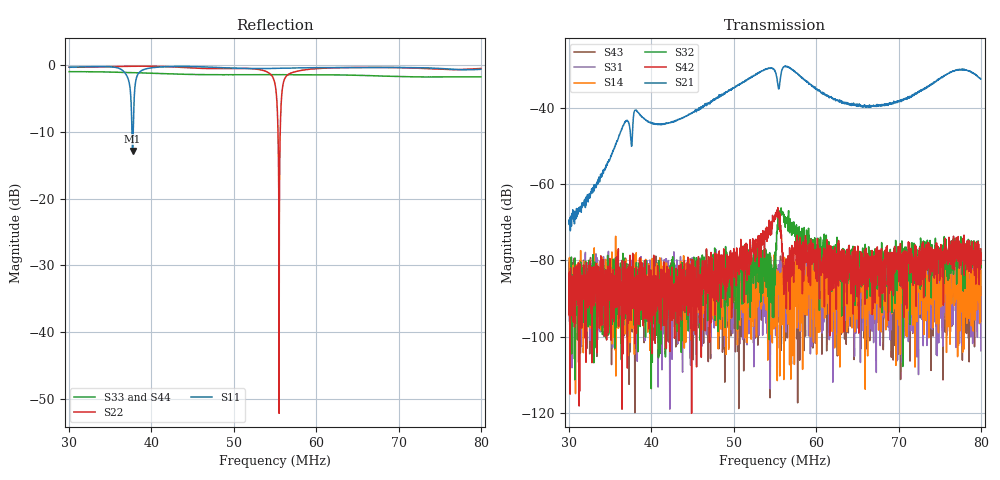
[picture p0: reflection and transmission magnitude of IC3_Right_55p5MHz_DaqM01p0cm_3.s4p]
#  HZ  S  DB  R  50.00
! Rohde & Schwarz Vector Network Analyzer
! Rohde-Schwarz,ZNB8-4Port,1311601044102961,2.82
! Created: UTC 2/13/2019, 11:53:38 AM
! freq[Hz]  db:S11  ang:S11  db:S12  ang:S12  db:S13  ang:S13  db:S14  ang:S14
!  db:S21  ang:S21  db:S22  ang:S22  db:S23  ang:S23  db:S24  ang:S24
!  db:S31  ang:S31  db:S32  ang:S32  db:S33  ang:S33  db:S34  ang:S34
!  db:S41  ang:S41  db:S42  ang:S42  db:S43  ang:S43  db:S44  ang:S44
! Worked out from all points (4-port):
!   2001 points, 30 MHz to 80 MHz, reference 50 ohm
!   strongest paths, dB at 30 MHz, 42.5 MHz, 55 MHz, 67.5 MHz, 80 MHz:
!     S21: -69.3, -43.6, -30.3, -39.3, -32.4
!     S42: -83.4, -81.8, -68.1, -78.4, -77.0
!     S32: -90.6, -79.8, -77.8, -80.4, -79.9
!     S14: -90.1, -84.3, -95.6, -86.2, -89.2
!     S31: -92.3, -106.0, -82.8, -85.4, -103.7
!     S43: -80.7, -91.4, -86.0, -95.3, -96.0
!   lowest |S11| = -12.9 dB at 37.7 MHz (marker M1), VSWR 1.59, Z = 77.4 - j9.66 ohm
!   |S11| at or under -10 dB: 37.63428 MHz to 37.77403 MHz (139.8 kHz wide, 0.371 % of centre)
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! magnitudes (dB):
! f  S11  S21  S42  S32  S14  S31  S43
! 30 MHz  -0.3  -69.3  -83.4  -90.6  -90.1  -92.3  -80.7
! 37.7 MHz  -12.9  -46.2  -87.5  -89.9  -85.9  -93.9  -84.4
! 54.17 MHz  -0.5  -29.6  -72.7  -89.6  -91.7  -92.1  -92.1
! 55.5 MHz  -0.4  -34.9  -69.3  -67.4  -84.2  -90.1  -82.7
! 56.9 MHz  -0.4  -29.7  -79.5  -70.5  -82.6  -87.5  -85.6
! 65.53 MHz  -0.3  -39.7  -85.7  -79.7  -86.1  -80.1  -83.4
! 80 MHz  -0.6  -32.4  -77.0  -79.9  -89.2  -103.7  -96.0
